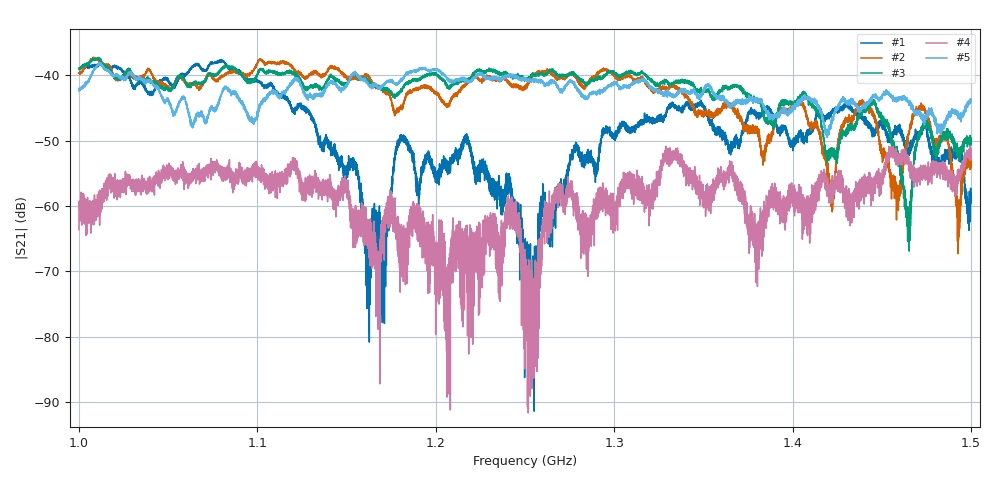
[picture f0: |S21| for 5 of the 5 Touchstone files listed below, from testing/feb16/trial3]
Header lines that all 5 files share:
!Keysight Technologies N9923A: A.08.15
!Timezone: (GMT-05:00) Eastern Time (US & Canada)
!Model: N9923A
!Serial: MY52412730
!GPS Latitude:
!GPS Longitude:
!GPS TimeStamp: 0001-01-01 00:00:00Z
!GPS Seconds Since Last Read: 0
!Correction: S11(ON Q)S21(ON Q)S12(ON Q)S22(ON Q)
!S2P File: Measurements:S11,S21,S12,S22:
# Hz S DB R 50
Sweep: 1 GHz to 1.5 GHz
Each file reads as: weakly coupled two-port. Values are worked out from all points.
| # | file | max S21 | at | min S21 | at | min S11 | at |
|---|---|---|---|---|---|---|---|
| 1 | test0.s2p | -37.63 dB | 1.079 GHz | -91.4 dB | 1.255 GHz | -20.8 dB | 1.445 GHz |
| 2 | test2.s2p | -37.21 dB | 1.008 GHz | -67.3 dB | 1.493 GHz | -14.4 dB | 1.419 GHz |
| 3 | test4.s2p | -37.24 dB | 1.011 GHz | -66.9 dB | 1.465 GHz | -15.0 dB | 1.409 GHz |
| 4 | test5.s2p | -50.80 dB | 1.5 GHz | -91.7 dB | 1.252 GHz | -2.1 dB | 1.44 GHz |
| 5 | test6.s2p | -38.02 dB | 1.012 GHz | -49.5 dB | 1.419 GHz | -16.2 dB | 1.402 GHz |
